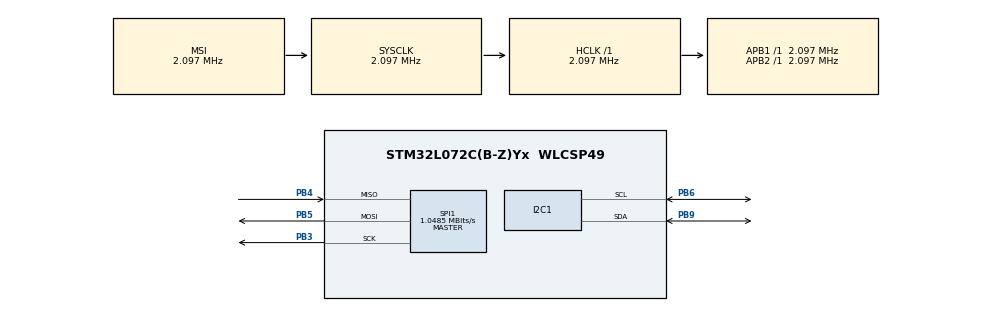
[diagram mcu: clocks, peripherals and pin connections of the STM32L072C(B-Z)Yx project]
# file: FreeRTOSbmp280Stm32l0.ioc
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FREERTOS.Tasks01=defaultTask,0,128,StartDefaultTask,Default,NULL
Mcu.Family=STM32L0
Mcu.Name=STM32L072C(B-Z)Yx
Mcu.Package=WLCSP49
NVIC.TIM3_IRQn=true\:0\:0\:false\:false\:true\:false\:false
NVIC.TimeBase=TIM3_IRQn
NVIC.TimeBaseIP=TIM3
PB3.Mode=Full_Duplex_Master
PB3.Signal=SPI1_SCK
PB4.Mode=Full_Duplex_Master
PB4.Signal=SPI1_MISO
PB5.Mode=Full_Duplex_Master
PB5.Signal=SPI1_MOSI
PB6.Mode=I2C
PB6.Signal=I2C1_SCL
PB9.Mode=I2C
PB9.Signal=I2C1_SDA
ProjectManager.HeapSize=0x200
ProjectManager.StackSize=0x400
ProjectManager.TargetToolchain=MDK-ARM V5
RCC.AHBFreq_Value=2097000
RCC.APB1Freq_Value=2097000
RCC.APB1TimFreq_Value=2097000
RCC.APB2Freq_Value=2097000
RCC.APB2TimFreq_Value=2097000
RCC.HSE_VALUE=8000000
RCC.HSI16_VALUE=16000000
RCC.HSI48_VALUE=48000000
RCC.HSI_VALUE=16000000
RCC.LSE_VALUE=32768
RCC.MSI_VALUE=2097000
RCC.SYSCLKFreq_VALUE=2097000
RCC.VCOOutputFreq_Value=48000000
SPI1.CalculateBaudRate=1.0485 MBits/s
SPI1.Direction=SPI_DIRECTION_2LINES
SPI1.Mode=SPI_MODE_MASTER
SPI1.VirtualType=VM_MASTER
VP_FREERTOS_VS_ENABLE.Mode=Enabled
VP_SYS_VS_tim3.Mode=TIM3
board=custom

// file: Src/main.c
/* USER CODE BEGIN Header */
/**
  ******************************************************************************
  * @file           : main.c
  * @brief          : Main program body
  ******************************************************************************
  * This notice applies to any and all portions of this file
  * that are not between comment pairs USER CODE BEGIN and
  * USER CODE END. Other portions of this file, whether
  * inserted by the user or by software development tools
  * are owned by their respective copyright owners.
  *
  * Copyright (c) 2019 STMicroelectronics International N.V.
  * All rights reserved.
  *
  * Redistribution and use in source and binary forms, with or without
  * modification, are permitted, provided that the following conditions are met:
  *
  * 1. Redistribution of source code must retain the above copyright notice,
  *    this list of conditions and the following disclaimer.
  * 2. Redistributions in binary form must reproduce the above copyright notice,
  *    this list of conditions and the following disclaimer in the documentation
  *    and/or other materials provided with the distribution.
  * 3. Neither the name of STMicroelectronics nor the names of other
  *    contributors to this software may be used to endorse or promote products
  *    derived from this software without specific written permission.
  * 4. This software, including modifications and/or derivative works of this
  *    software, must execute solely and exclusively on microcontroller or
  *    microprocessor devices manufactured by or for STMicroelectronics.
  * 5. Redistribution and use of this software other than as permitted under
  *    this license is void and will automatically terminate your rights under
  *    this license.
  *
  * THIS SOFTWARE IS PROVIDED BY STMICROELECTRONICS AND CONTRIBUTORS "AS IS"
  * AND ANY EXPRESS, IMPLIED OR STATUTORY WARRANTIES, INCLUDING, BUT NOT
  * LIMITED TO, THE IMPLIED WARRANTIES OF MERCHANTABILITY, FITNESS FOR A
  * PARTICULAR PURPOSE AND NON-INFRINGEMENT OF THIRD PARTY INTELLECTUAL PROPERTY
  * RIGHTS ARE DISCLAIMED TO THE FULLEST EXTENT PERMITTED BY LAW. IN NO EVENT
  * SHALL STMICROELECTRONICS OR CONTRIBUTORS BE LIABLE FOR ANY DIRECT, INDIRECT,
  * INCIDENTAL, SPECIAL, EXEMPLARY, OR CONSEQUENTIAL DAMAGES (INCLUDING, BUT NOT
  * LIMITED TO, PROCUREMENT OF SUBSTITUTE GOODS OR SERVICES; LOSS OF USE, DATA,
  * OR PROFITS; OR BUSINESS INTERRUPTION) HOWEVER CAUSED AND ON ANY THEORY OF
  * LIABILITY, WHETHER IN CONTRACT, STRICT LIABILITY, OR TORT (INCLUDING
  * NEGLIGENCE OR OTHERWISE) ARISING IN ANY WAY OUT OF THE USE OF THIS SOFTWARE,
  * EVEN IF ADVISED OF THE POSSIBILITY OF SUCH DAMAGE.
  *
  ******************************************************************************
  */
/* USER CODE END Header */

#include "main.h"
#include "cmsis_os.h"

/* USER CODE BEGIN Includes */
#include "bmp280.h"
#include <stdio.h>
#include <math.h>
#include <stdlib.h>
/* USER CODE END Includes */

/* USER CODE BEGIN PD */
void getAltitude();
/* USER CODE END PD */

I2C_HandleTypeDef hi2c1;

SPI_HandleTypeDef hspi1;

osThreadId defaultTaskHandle;
/* USER CODE BEGIN PV */
BMP280_HandleTypedef bmp280;

const float SEA_LEVEL_PRESSURE = 1013.23f;
float pressure, temperature, humidity, altitude, pressure_hpa;
float pressure_array[10];

uint16_t size;
uint8_t Data[256];
/* USER CODE END PV */

void SystemClock_Config(void);
static void MX_GPIO_Init(void);
static void MX_I2C1_Init(void);
static void MX_SPI1_Init(void);
void StartDefaultTask(void const * argument);

int main(void)
{

  /* MCU Configuration--------------------------------------------------------*/

  /* Reset of all peripherals, Initializes the Flash interface and the Systick. */
  HAL_Init();

  /* Configure the system clock */
  SystemClock_Config();

  /* Initialize all configured peripherals */
  MX_GPIO_Init();
  MX_I2C1_Init();
  MX_SPI1_Init();

  /* Create the thread(s) */
  /* definition and creation of defaultTask */
  osThreadDef(defaultTask, StartDefaultTask, osPriorityNormal, 0, 128);
  defaultTaskHandle = osThreadCreate(osThread(defaultTask), NULL);

  /* Start scheduler */
  osKernelStart();

  /* We should never get here as control is now taken by the scheduler */

  /* Infinite loop */
  while (1)
  {

  }
}

void SystemClock_Config(void)
{
  RCC_OscInitTypeDef RCC_OscInitStruct = {0};
  RCC_ClkInitTypeDef RCC_ClkInitStruct = {0};
  RCC_PeriphCLKInitTypeDef PeriphClkInit = {0};

  /**Configure the main internal regulator output voltage
  */
  __HAL_PWR_VOLTAGESCALING_CONFIG(PWR_REGULATOR_VOLTAGE_SCALE1);
  /**Initializes the CPU, AHB and APB busses clocks
  */
  RCC_OscInitStruct.OscillatorType = RCC_OSCILLATORTYPE_MSI;
  RCC_OscInitStruct.MSIState = RCC_MSI_ON;
  RCC_OscInitStruct.MSICalibrationValue = 0;
  RCC_OscInitStruct.MSIClockRange = RCC_MSIRANGE_5;
  RCC_OscInitStruct.PLL.PLLState = RCC_PLL_NONE;
  if (HAL_RCC_OscConfig(&RCC_OscInitStruct) != HAL_OK)
  {
    Error_Handler();
  }
  /**Initializes the CPU, AHB and APB busses clocks
  */
  RCC_ClkInitStruct.ClockType = RCC_CLOCKTYPE_HCLK|RCC_CLOCKTYPE_SYSCLK
                              |RCC_CLOCKTYPE_PCLK1|RCC_CLOCKTYPE_PCLK2;
  RCC_ClkInitStruct.SYSCLKSource = RCC_SYSCLKSOURCE_MSI;
  RCC_ClkInitStruct.AHBCLKDivider = RCC_SYSCLK_DIV1;
  RCC_ClkInitStruct.APB1CLKDivider = RCC_HCLK_DIV1;
  RCC_ClkInitStruct.APB2CLKDivider = RCC_HCLK_DIV1;

  if (HAL_RCC_ClockConfig(&RCC_ClkInitStruct, FLASH_LATENCY_0) != HAL_OK)
  {
    Error_Handler();
  }
  PeriphClkInit.PeriphClockSelection = RCC_PERIPHCLK_I2C1;
  PeriphClkInit.I2c1ClockSelection = RCC_I2C1CLKSOURCE_PCLK1;
  if (HAL_RCCEx_PeriphCLKConfig(&PeriphClkInit) != HAL_OK)
  {
    Error_Handler();
  }
}

static void MX_I2C1_Init(void)
{

  hi2c1.Instance = I2C1;
  hi2c1.Init.Timing = 0x00000708;
  hi2c1.Init.OwnAddress1 = 0;
  hi2c1.Init.AddressingMode = I2C_ADDRESSINGMODE_7BIT;
  hi2c1.Init.DualAddressMode = I2C_DUALADDRESS_DISABLE;
  hi2c1.Init.OwnAddress2 = 0;
  hi2c1.Init.OwnAddress2Masks = I2C_OA2_NOMASK;
  hi2c1.Init.GeneralCallMode = I2C_GENERALCALL_DISABLE;
  hi2c1.Init.NoStretchMode = I2C_NOSTRETCH_DISABLE;
  if (HAL_I2C_Init(&hi2c1) != HAL_OK)
  {
    Error_Handler();
  }
  /**Configure Analogue filter
  */
  if (HAL_I2CEx_ConfigAnalogFilter(&hi2c1, I2C_ANALOGFILTER_ENABLE) != HAL_OK)
  {
    Error_Handler();
  }
  /**Configure Digital filter
  */
  if (HAL_I2CEx_ConfigDigitalFilter(&hi2c1, 0) != HAL_OK)
  {
    Error_Handler();
  }

}

static void MX_SPI1_Init(void)
{

  /* SPI1 parameter configuration*/
  hspi1.Instance = SPI1;
  hspi1.Init.Mode = SPI_MODE_MASTER;
  hspi1.Init.Direction = SPI_DIRECTION_2LINES;
  hspi1.Init.DataSize = SPI_DATASIZE_8BIT;
  hspi1.Init.CLKPolarity = SPI_POLARITY_LOW;
  hspi1.Init.CLKPhase = SPI_PHASE_1EDGE;
  hspi1.Init.NSS = SPI_NSS_SOFT;
  hspi1.Init.BaudRatePrescaler = SPI_BAUDRATEPRESCALER_2;
  hspi1.Init.FirstBit = SPI_FIRSTBIT_MSB;
  hspi1.Init.TIMode = SPI_TIMODE_DISABLE;
  hspi1.Init.CRCCalculation = SPI_CRCCALCULATION_DISABLE;
  hspi1.Init.CRCPolynomial = 7;
  if (HAL_SPI_Init(&hspi1) != HAL_OK)
  {
    Error_Handler();
  }

}

static void MX_GPIO_Init(void)
{

  /* GPIO Ports Clock Enable */
  __HAL_RCC_GPIOB_CLK_ENABLE();

}

void StartDefaultTask(void const * argument)
{

  /* USER CODE BEGIN 5 */
		bmp280_init_default_params(&bmp280.params);
	bmp280.addr = BMP280_I2C_ADDRESS_0;
	bmp280.i2c = &hi2c1;
bool bme280p = bmp280.id == BME280_CHIP_ID;
	int count=0;

	while (!bmp280_init(&bmp280, &bmp280.params)) {
		size = sprintf((char *)Data, "BMP280 initialization failed\n");
		//HAL_UART_Transmit(&huart1, Data, size, 1000);
		//HAL_Delay(2000);
	}

	size = sprintf((char *)Data, "BMP280: found %s\n", bme280p ? "BME280" : "BMP280");
  /* Infinite loop */
  for(;;)
  {
    while (!bmp280_read_float(&bmp280, &temperature, &pressure, &humidity)) {
			size = sprintf((char *)Data,
					"Temperature/pressure reading failed\n");
		//	HAL_UART_Transmit(&huart1, Data, size, 1000);
			HAL_Delay(2000);
		}

		size = sprintf((char *)Data,"Pressure: %.2f Pa, Temperature: %.2f C",
				pressure, temperature);

		pressure_hpa = pressure/100 ;
		if (count<=9)
		{
		pressure_array[count]=pressure_hpa;
		count++;
		}
		else
		{count=0;}

		// Calculate the altitude in metres

		/*1 previous formula*/
		//altitude = fabs((287.053*(logf((pressure)/101325))*(temperature+273.15))/9.8);

		/*2 */
		//altitude = ((float)powf(SEA_LEVEL_PRESSURE / pressure*100, 0.190223f) - 1.0f) * (temperature + 273.15f) / 0.0065f;

		/*3 */
		//altitude = (44330.0 * (1.0 - powf(pressure / 101325.0,1 / 5.255)));

		/*4 */
		//altitude = (1 - pow(pressure/(float)101325, 0.1903)) / 0.0000225577;

		//HAL_UART_Transmit(&huart1, Data, size, 1000);
		if (bme280p) {
			size = sprintf((char *)Data,", Humidity: %.2f\n", humidity);
		//	HAL_UART_Transmit(&huart1, Data, size, 1000);
		}

		else {
			size = sprintf((char *)Data, "\n");
			//HAL_UART_Transmit(&huart1, Data, size, 1000);
		}
		//HAL_Delay(2000);

    osDelay(6000);
  }
  /* USER CODE END 5 */
}

void HAL_TIM_PeriodElapsedCallback(TIM_HandleTypeDef *htim)
{
  if (htim->Instance == TIM3) {
    HAL_IncTick();
  }
}

void Error_Handler(void)
{
}

/************************ (C) COPYRIGHT STMicroelectronics *****END OF FILE****/
